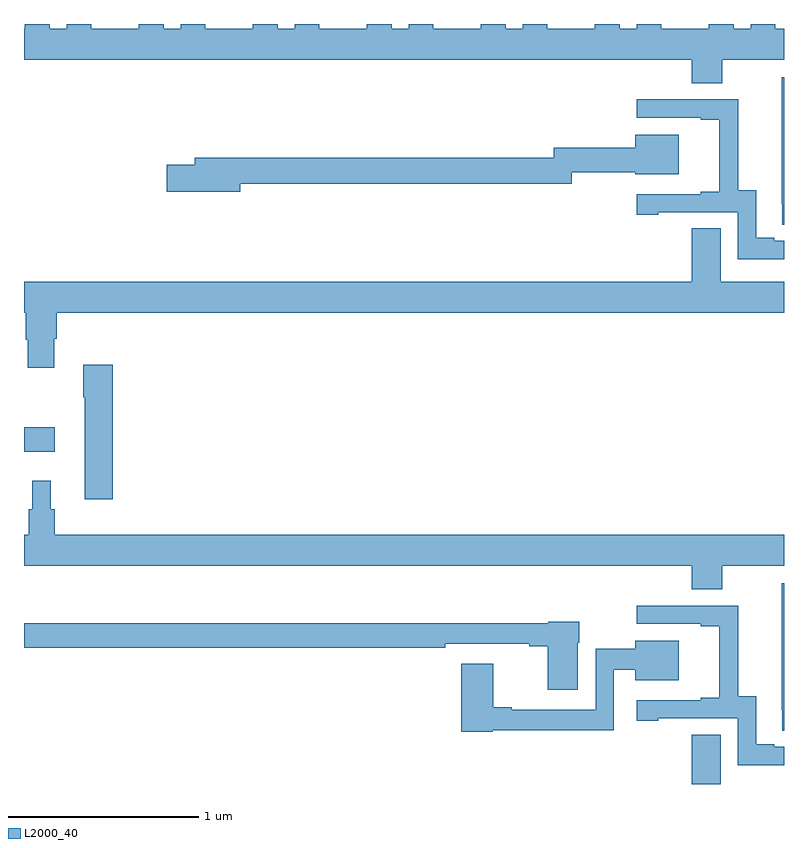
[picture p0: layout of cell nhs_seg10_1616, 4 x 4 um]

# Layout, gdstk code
import gdstk
lib = gdstk.Library(unit=1e-6, precision=1e-09)
def R(c, l, rs):  # rectangles x0, y0, x1, y1
    for r in rs: c.add(gdstk.rectangle(r[:2], r[2:], *l))
def P(c, l, *ps):  # polygons
    for p in ps: c.add(gdstk.Polygon(p, *l))
L2000_40 = (2000, 40)

nhs_seg10_1616 = lib.new_cell('nhs_seg10_1616')
R(nhs_seg10_1616, L2000_40, [(198.515,1300.5,198.667,1300.76), (195,1302.248,195.163,1302.378)])
P(nhs_seg10_1616, L2000_40, [(195.824,1304.5),(195.824,1304.476),(195.736,1304.476),(195.736,1304.5),(195.605,1304.5),(195.605,1304.476),(195.355,1304.476),(195.355,1304.5),(195.224,1304.5),(195.224,1304.476),(195.136,1304.476),(195.136,1304.5),(195.005,1304.5),(195.005,1304.476),(195,1304.476),(195,1304.312),(198.515,1304.312),(198.515,1304.188),(198.675,1304.188),(198.675,1304.312),(199,1304.312),(199,1304.476),(198.955,1304.476),(198.955,1304.5),(198.824,1304.5),(198.824,1304.476),(198.736,1304.476),(198.736,1304.5),(198.605,1304.5),(198.605,1304.476),(198.355,1304.476),(198.355,1304.5),(198.224,1304.5),(198.224,1304.476),(198.136,1304.476),(198.136,1304.5),(198.005,1304.5),(198.005,1304.476),(197.755,1304.476),(197.755,1304.5),(197.624,1304.5),(197.624,1304.476),(197.536,1304.476),(197.536,1304.5),(197.405,1304.5),(197.405,1304.476),(197.155,1304.476),(197.155,1304.5),(197.024,1304.5),(197.024,1304.476),(196.936,1304.476),(196.936,1304.5),(196.805,1304.5),(196.805,1304.476),(196.555,1304.476),(196.555,1304.5),(196.424,1304.5),(196.424,1304.476),(196.336,1304.476),(196.336,1304.5),(196.205,1304.5),(196.205,1304.476),(195.955,1304.476),(195.955,1304.5)],
  [(199,1304.22),(198.989,1304.22),(198.989,1303.552),(198.99,1303.552),(198.99,1303.444),(199,1303.444)],
  [(199,1303.359),(198.949,1303.359),(198.949,1303.374),(198.853,1303.374),(198.853,1303.625),(198.759,1303.625),(198.759,1304.103),(198.225,1304.103),(198.225,1304.007),(198.563,1304.007),(198.563,1303.995),(198.659,1303.995),(198.659,1303.618),(198.563,1303.618),(198.563,1303.605),(198.225,1303.605),(198.225,1303.497),(198.337,1303.497),(198.337,1303.509),(198.756,1303.509),(198.756,1303.263),(199,1303.263)],
  [(196.138,1303.66),(197.883,1303.66),(197.883,1303.72),(198.218,1303.72),(198.218,1303.709),(198.445,1303.709),(198.445,1303.918),(198.218,1303.918),(198.218,1303.849),(197.787,1303.849),(197.787,1303.796),(195.899,1303.796),(195.899,1303.76),(195.75,1303.76),(195.75,1303.618),(196.138,1303.618)],
  [(195,1302.98),(195.008,1302.98),(195.008,1302.838),(195.02,1302.838),(195.02,1302.69),(195.16,1302.69),(195.16,1302.843),(195.173,1302.843),(195.173,1302.98),(199,1302.98),(199,1303.144),(198.667,1303.144),(198.667,1303.424),(198.515,1303.424),(198.515,1303.144),(195,1303.144)],
  [(195.467,1302.706),(195.313,1302.706),(195.313,1302.536),(195.32,1302.536),(195.32,1302),(195.467,1302)],
  [(198.515,1301.524),(198.675,1301.524),(198.675,1301.648),(199,1301.648),(199,1301.812),(195.161,1301.812),(195.161,1301.946),(195.142,1301.946),(195.142,1302.097),(195.044,1302.097),(195.044,1301.946),(195.025,1301.946),(195.025,1301.812),(195,1301.812),(195,1301.648),(198.515,1301.648)],
  [(199,1301.556),(198.989,1301.556),(198.989,1300.888),(198.99,1300.888),(198.99,1300.78),(199,1300.78)],
  [(199,1300.695),(198.949,1300.695),(198.949,1300.71),(198.853,1300.71),(198.853,1300.961),(198.759,1300.961),(198.759,1301.439),(198.225,1301.439),(198.225,1301.343),(198.563,1301.343),(198.563,1301.331),(198.659,1301.331),(198.659,1300.954),(198.563,1300.954),(198.563,1300.941),(198.225,1300.941),(198.225,1300.833),(198.337,1300.833),(198.337,1300.845),(198.756,1300.845),(198.756,1300.599),(199,1300.599)],
  [(197.914,1301.243),(197.922,1301.243),(197.922,1301.355),(197.76,1301.355),(197.76,1301.347),(195,1301.347),(195,1301.218),(197.216,1301.218),(197.216,1301.238),(197.66,1301.238),(197.66,1301.226),(197.756,1301.226),(197.756,1300.995),(197.914,1300.995)],
  [(197.466,1300.782),(198.105,1300.782),(198.105,1301.102),(198.218,1301.102),(198.218,1301.045),(198.445,1301.045),(198.445,1301.254),(198.218,1301.254),(198.218,1301.212),(198.009,1301.212),(198.009,1300.89),(197.566,1300.89),(197.566,1300.903),(197.47,1300.903),(197.47,1301.134),(197.3,1301.134),(197.3,1300.774),(197.466,1300.774)])

lib.write_gds('nhs_seg10_1616.gds')
